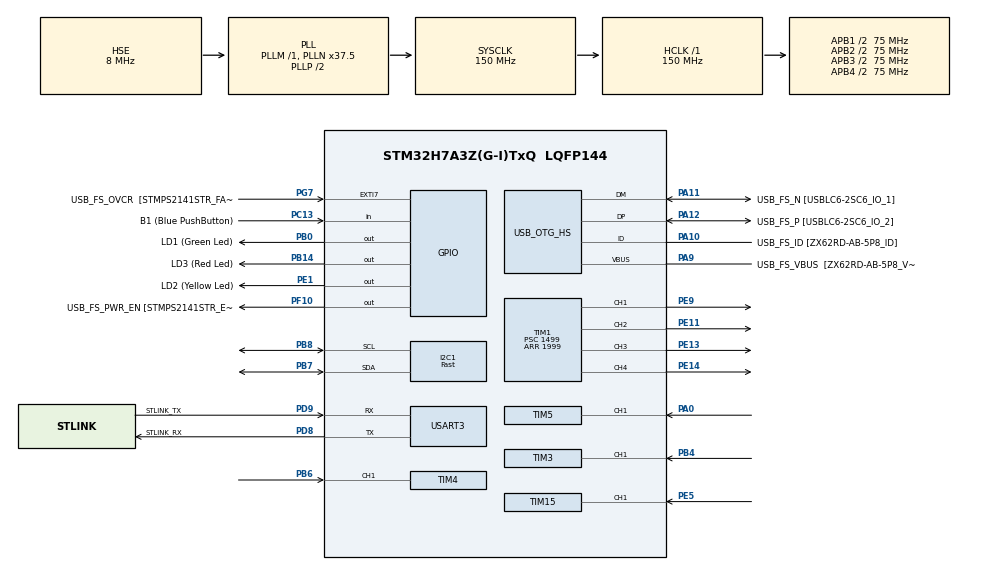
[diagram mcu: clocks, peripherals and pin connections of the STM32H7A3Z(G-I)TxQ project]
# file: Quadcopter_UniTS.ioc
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I2C1.I2C_Speed_Mode=I2C_Fast
I2C1.Timing=0x00702787
IWDG1.Prescaler=IWDG_PRESCALER_32
IWDG1.Reload=999
Mcu.Family=STM32H7
Mcu.Name=STM32H7A3Z(G-I)TxQ
Mcu.Package=LQFP144
NVIC.PriorityGroup=NVIC_PRIORITYGROUP_4
NVIC.TIM15_IRQn=true\:1\:0\:true\:false\:true\:true\:true\:true
NVIC.TIM2_IRQn=true\:0\:0\:true\:false\:true\:true\:true\:true
NVIC.TIM3_IRQn=true\:1\:0\:true\:false\:true\:true\:true\:true
NVIC.TIM4_IRQn=true\:1\:0\:true\:false\:true\:true\:true\:true
NVIC.TIM5_IRQn=true\:1\:0\:true\:false\:true\:true\:true\:true
PA0.Signal=S_TIM5_CH1
PA10.GPIO_Label=USB_FS_ID [ZX62RD-AB-5P8_ID]
PA10.Mode=OTG/Dual-Role-Device-FS
PA10.Signal=USB_OTG_HS_ID
PA11.GPIO_Label=USB_FS_N [USBLC6-2SC6_IO_1]
PA11.Mode=OTG/Dual-Role-Device-FS
PA11.Signal=USB_OTG_HS_DM
PA12.GPIO_Label=USB_FS_P [USBLC6-2SC6_IO_2]
PA12.Mode=OTG/Dual-Role-Device-FS
PA12.Signal=USB_OTG_HS_DP
PA9.GPIO_Label=USB_FS_VBUS  [ZX62RD-AB-5P8_VBUS]
PA9.Mode=Activate_VBUS_FS
PA9.Signal=USB_OTG_HS_VBUS
PB0.GPIO_Label=LD1 (Green Led)
PB0.Signal=GPIO_Output
PB14.GPIO_Label=LD3 (Red Led)
PB14.Signal=GPIO_Output
PB4.Signal=S_TIM3_CH1
PB6.Signal=S_TIM4_CH1
PB7.Mode=I2C
PB7.Signal=I2C1_SDA
PB8.Mode=I2C
PB8.Signal=I2C1_SCL
PC13.GPIO_Label=B1 (Blue PushButton)
PC13.Signal=GPIO_Input
PC14-OSC32_IN.GPIO_Label=OSC32_IN
PC14-OSC32_IN.Mode=LSE-External-Oscillator
PC14-OSC32_IN.Signal=RCC_OSC32_IN
PC15-OSC32_OUT.GPIO_Label=OSC32_OUT
PC15-OSC32_OUT.Mode=LSE-External-Oscillator
PC15-OSC32_OUT.Signal=RCC_OSC32_OUT
PD8.GPIO_Label=STLINK_RX
PD8.Mode=Asynchronous
PD8.Signal=USART3_TX
PD9.GPIO_Label=STLINK_TX
PD9.Mode=Asynchronous
PD9.Signal=USART3_RX
PE1.GPIO_Label=LD2 (Yellow Led)
PE1.Signal=GPIO_Output
PE11.Signal=S_TIM1_CH2
PE13.Signal=S_TIM1_CH3
PE14.Signal=S_TIM1_CH4
PE5.Signal=S_TIM15_CH1
PE9.Signal=S_TIM1_CH1
PF10.GPIO_Label=USB_FS_PWR_EN [STMPS2141STR_EN]
PF10.Signal=GPIO_Output
PG7.GPIO_Label=USB_FS_OVCR  [STMPS2141STR_FAULT]
PG7.Signal=GPXTI7
PH0-OSC_IN.GPIO_Label=PH0-MCU
PH0-OSC_IN.Mode=HSE-External-Oscillator
PH0-OSC_IN.Signal=RCC_OSC_IN
PH1-OSC_OUT.GPIO_Label=PH1-MCU
PH1-OSC_OUT.Mode=HSE-External-Oscillator
PH1-OSC_OUT.Signal=RCC_OSC_OUT
ProjectManager.HeapSize=0x200
ProjectManager.StackSize=0x400
ProjectManager.TargetToolchain=STM32CubeIDE
RCC.ADCFreq_Value=16125000
RCC.APB1Freq_Value=75000000
RCC.APB2Freq_Value=75000000
RCC.APB3Freq_Value=75000000
RCC.APB4Freq_Value=75000000
RCC.CDPPRE=RCC_APB3_DIV2
RCC.CDPPRE1=RCC_APB1_DIV2
RCC.CDPPRE2=RCC_APB2_DIV2
RCC.CortexFreq_Value=150000000
RCC.DIVM1=1
RCC.DIVM3=1
RCC.DIVN1=37
RCC.DIVN3=24
RCC.DIVQ1=4
RCC.HCLKFreq_Value=150000000
RCC.HSE_VALUE=8000000
RCC.PLLFRACN=4096
RCC.PLLSourceVirtual=RCC_PLLSOURCE_HSE
RCC.PWR_Regulator_Voltage_Scale=PWR_REGULATOR_VOLTAGE_SCALE0
RCC.SRDPPRE=RCC_APB4_DIV2
RCC.SYSCLKFreq_VALUE=150000000
RCC.SYSCLKSource=RCC_SYSCLKSOURCE_PLLCLK
RCC.SupplySource=PWR_DIRECT_SMPS_SUPPLY
RCC.USBCLockSelection=RCC_USBCLKSOURCE_HSI48
RCC.USBFreq_Value=48000000
SH.S_TIM15_CH1.0=TIM15_CH1,PWM_Input_1
SH.S_TIM1_CH1.0=TIM1_CH1,PWM Generation1 CH1
SH.S_TIM1_CH2.0=TIM1_CH2,PWM Generation2 CH2
SH.S_TIM1_CH3.0=TIM1_CH3,PWM Generation3 CH3
SH.S_TIM1_CH4.0=TIM1_CH4,PWM Generation4 CH4
SH.S_TIM3_CH1.0=TIM3_CH1,PWM_Input_1
SH.S_TIM4_CH1.0=TIM4_CH1,PWM_Input_1
SH.S_TIM5_CH1.0=TIM5_CH1,PWM_Input_1
TIM1.Channel-PWM\ Generation1\ CH1=TIM_CHANNEL_1
TIM1.Channel-PWM\ Generation2\ CH2=TIM_CHANNEL_2
TIM1.Channel-PWM\ Generation3\ CH3=TIM_CHANNEL_3
TIM1.Channel-PWM\ Generation4\ CH4=TIM_CHANNEL_4
TIM1.Period=1999
TIM1.Prescaler=1499
TIM15.Prescaler=639
TIM2.Period=999
TIM2.Prescaler=1499
TIM3.Prescaler=639
TIM4.Prescaler=639
TIM5.Period=65535
TIM5.Prescaler=639
USART3.VirtualMode-Asynchronous=VM_ASYNC
VP_IWDG1_VS_IWDG.Mode=IWDG_Activate
VP_TIM15_VS_ClockSourceINT.Mode=Internal
VP_TIM1_VS_ClockSourceINT.Mode=Internal
VP_TIM2_VS_ClockSourceINT.Mode=Internal
VP_TIM3_VS_ClockSourceINT.Mode=Internal
VP_TIM4_VS_ClockSourceINT.Mode=Internal
VP_TIM5_VS_ClockSourceINT.Mode=Internal
board=NUCLEO-H7A3ZI-Q

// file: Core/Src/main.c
/* USER CODE BEGIN Header */
/**
 ******************************************************************************
 * @file           : main.c
 * @brief          : Main program body
 ******************************************************************************
 * @attention
 *
 * Copyright (c) 2025 STMicroelectronics.
 * All rights reserved.
 *
 * This software is licensed under terms that can be found in the LICENSE file
 * in the root directory of this software component.
 * If no LICENSE file comes with this software, it is provided AS-IS.
 *
 ******************************************************************************
 */
/* USER CODE END Header */
#include "main.h"

/* USER CODE BEGIN Includes */

#include "motor.h"
#include "radio.h"
#include "control.h"
#include "orientation.h"
#include "filter.h"
#include "imu.h"
#include <stdint.h>
#include <stdlib.h>
#include <string.h>

/* USER CODE END Includes */

/* USER CODE BEGIN PD */
#define STABLE_INIT_CYCLES 3000
#define MAX_SAFE_ANGLE 10000000
/* USER CODE END PD */

I2C_HandleTypeDef hi2c1;

IWDG_HandleTypeDef hiwdg1;

TIM_HandleTypeDef htim1;
TIM_HandleTypeDef htim2;
TIM_HandleTypeDef htim3;
TIM_HandleTypeDef htim4;
TIM_HandleTypeDef htim5;
TIM_HandleTypeDef htim15;

UART_HandleTypeDef huart3;

void SystemClock_Config(void);
static void MX_GPIO_Init(void);
static void MX_USART3_UART_Init(void);
static void MX_USB_OTG_HS_USB_Init(void);
static void MX_TIM1_Init(void);
static void MX_TIM3_Init(void);
static void MX_TIM4_Init(void);
static void MX_TIM5_Init(void);
static void MX_TIM15_Init(void);
static void MX_I2C1_Init(void);
static void MX_TIM2_Init(void);
static void MX_IWDG1_Init(void);
/* USER CODE BEGIN PFP */

Radio rc_comm_temp;
uint16_t motor_pwm[4] = {0.0, 0.0, 0.0, 0.0};

volatile uint32_t period_rc_0 = 0;
volatile uint32_t period_rc_1 = 0;
volatile uint32_t period_rc_2 = 0;
volatile uint32_t period_rc_3 = 0;

volatile uint32_t pulse_on_rc_0 = 0;
volatile uint32_t pulse_on_rc_1 = 0;
volatile uint32_t pulse_on_rc_2 = 0;
volatile uint32_t pulse_on_rc_3 = 0;

volatile float norm_comm_rc_0 = 0;
volatile float norm_comm_rc_1 = 0;
volatile float norm_comm_rc_2 = 0;
volatile float norm_comm_rc_3 = 0;

uint16_t offset_rc_0 = 0;
uint16_t offset_rc_1 = 0;
uint16_t offset_rc_2 = 0;
uint16_t offset_rc_3 = 0;

float dt_imu = 0.001;
float dt_pid = 0.001;

volatile uint16_t motor_atom_flag;
volatile uint16_t motor_arming_flag = 0;
volatile uint16_t imu_flag = 0;
volatile uint16_t pid_flag = 0;

PID_Error control_error;
PID_Error former_error;

volatile Euler rc_ref_euler, imu_est_euler;

volatile PID_Out out_pid;

volatile uint16_t motor_throttle = MOTOR_MIN_PWM;
volatile uint16_t t = 0;

volatile uint32_t cycle_count = 0;

/* USER CODE END PFP */

/* USER CODE BEGIN 0 */
int _write(int32_t file, uint8_t *ptr, int32_t len)
{
	for (int i = 0; i < len; i++)
	{
		ITM_SendChar(*ptr++);
	}
	return len;
}

/* USER CODE END 0 */

int main(void)
{

	/* USER CODE BEGIN 1 */

 	rc_ref_euler.pitch =  0;
	rc_ref_euler.roll =  0;
	rc_ref_euler.yaw =  0;

	imu_est_euler.pitch =  0;
	imu_est_euler.roll =  0;
	imu_est_euler.yaw =  0;

	rc_comm_temp.AIL = 0;
	rc_comm_temp.ELE = 0;
	rc_comm_temp.RUD = 0;
	rc_comm_temp.THR = 0;

	/* USER CODE END 1 */

	/* MCU Configuration--------------------------------------------------------*/

	/* Reset of all peripherals, Initializes the Flash interface and the Systick. */
	HAL_Init();

	/* Configure the system clock */
	SystemClock_Config();

	/* Initialize all configured peripherals */
	MX_GPIO_Init();
	MX_USART3_UART_Init();
	MX_USB_OTG_HS_USB_Init();
	MX_TIM1_Init();
	MX_TIM3_Init();
	MX_TIM4_Init();
	MX_TIM5_Init();
	MX_TIM15_Init();
	MX_I2C1_Init();
	MX_TIM2_Init();
	MX_IWDG1_Init();
	/* USER CODE BEGIN 2 */
	/*starting timer 1 at 50 hz for motor pwm generation, one channel for each motor*/
	HAL_TIM_PWM_Start(&htim1, TIM_CHANNEL_1);
	HAL_TIM_PWM_Start(&htim1, TIM_CHANNEL_2);
	HAL_TIM_PWM_Start(&htim1, TIM_CHANNEL_3);
	HAL_TIM_PWM_Start(&htim1, TIM_CHANNEL_4);

	/*rc command reading, one timer for each type of command and 2 channels for each type
    only one generates an interrupt (ch_1) and is used to measure period
    and the other one is used to measure duty cycle ch_2
	 */

	HAL_TIM_IC_Start(&htim2, TIM_CHANNEL_2);

	HAL_TIM_IC_Start(&htim3, TIM_CHANNEL_2);
	HAL_TIM_IC_Start_IT(&htim3, TIM_CHANNEL_1);

	HAL_TIM_IC_Start(&htim4, TIM_CHANNEL_2);
	HAL_TIM_IC_Start_IT(&htim4, TIM_CHANNEL_1);

	HAL_TIM_IC_Start(&htim5, TIM_CHANNEL_2);
	HAL_TIM_IC_Start_IT(&htim5, TIM_CHANNEL_1);

	HAL_TIM_IC_Start(&htim15, TIM_CHANNEL_2);
	HAL_TIM_IC_Start_IT(&htim15, TIM_CHANNEL_1);

	/* USER CODE END 2 */

	/* Infinite loop */
	/* USER CODE BEGIN WHILE */

	init_motors();
	imu_init();
	orientation_init(); /*saves with hal_get_tick the time instant*/
	calibrate_rc();
	init_pid();

	MX_IWDG1_Init(); // start watchdog
	HAL_TIM_Base_Start_IT(&htim2); // Start motor PWM timer

	uint16_t stable_init_counter = 0;
	set_motor_pwm_zero(motor_pwm);

	while (1)
	{
		/* USER CODE END WHILE */

		/* USER CODE BEGIN 3 */

		get_target_euler(&rc_ref_euler, &rc_comm_temp);  /* Convert rc commands to reference euler angles*/

		if (imu_flag){
			orientation_update(&imu_est_euler); /* Get actual euler angle from IMU*/
			imu_flag=0;
		}

		if (pid_flag){
			motor_throttle = MAX_THROTTLE_RC * (float)rc_comm_temp.THR / RC_FULLSCALE * MOTOR_MAX_PWM + MOTOR_MIN_PWM * (1 - (float)rc_comm_temp.THR / RC_FULLSCALE);  // Scaled throttle

			pid_update(&out_pid, imu_est_euler, rc_ref_euler, motor_throttle);
			pid_flag = 0;

			// Atomic motor PWM update -------------------------

			// Safe angle check
			if ((abs(imu_est_euler.roll) < MAX_SAFE_ANGLE && abs(imu_est_euler.pitch) < MAX_SAFE_ANGLE) && (motor_throttle > MOTOR_MIN_PWM)) {
				mixing_formula(motor_pwm, motor_throttle, out_pid);
			}else {
				set_motor_pwm_zero(motor_pwm);
			}

		}

		// --------------------------------------------------

		// Initial free loops to stabilise system at rest
		if (stable_init_counter == STABLE_INIT_CYCLES) {
			motor_arming_flag = 1;
		} else {
			stable_init_counter++;
		}

	}
	/* USER CODE END 3 */
}

void SystemClock_Config(void)
{
	RCC_OscInitTypeDef RCC_OscInitStruct = {0};
	RCC_ClkInitTypeDef RCC_ClkInitStruct = {0};

	/*AXI clock gating */
	RCC->CKGAENR = 0xFFFFFFFF;

	/** Supply configuration update enable
	 */
	HAL_PWREx_ConfigSupply(PWR_DIRECT_SMPS_SUPPLY);

	/** Configure the main internal regulator output voltage
	 */
	__HAL_PWR_VOLTAGESCALING_CONFIG(PWR_REGULATOR_VOLTAGE_SCALE0);

	while(!__HAL_PWR_GET_FLAG(PWR_FLAG_VOSRDY)) {}

	/** Initializes the RCC Oscillators according to the specified parameters
	 * in the RCC_OscInitTypeDef structure.
	 */
	RCC_OscInitStruct.OscillatorType = RCC_OSCILLATORTYPE_HSI48|RCC_OSCILLATORTYPE_LSI
			|RCC_OSCILLATORTYPE_HSE;
	RCC_OscInitStruct.HSEState = RCC_HSE_ON;
	RCC_OscInitStruct.LSIState = RCC_LSI_ON;
	RCC_OscInitStruct.HSI48State = RCC_HSI48_ON;
	RCC_OscInitStruct.PLL.PLLState = RCC_PLL_ON;
	RCC_OscInitStruct.PLL.PLLSource = RCC_PLLSOURCE_HSE;
	RCC_OscInitStruct.PLL.PLLM = 1;
	RCC_OscInitStruct.PLL.PLLN = 37;
	RCC_OscInitStruct.PLL.PLLP = 2;
	RCC_OscInitStruct.PLL.PLLQ = 4;
	RCC_OscInitStruct.PLL.PLLR = 2;
	RCC_OscInitStruct.PLL.PLLRGE = RCC_PLL1VCIRANGE_3;
	RCC_OscInitStruct.PLL.PLLVCOSEL = RCC_PLL1VCOWIDE;
	RCC_OscInitStruct.PLL.PLLFRACN = 4096;
	if (HAL_RCC_OscConfig(&RCC_OscInitStruct) != HAL_OK)
	{
		Error_Handler();
	}

	/** Initializes the CPU, AHB and APB buses clocks
	 */
	RCC_ClkInitStruct.ClockType = RCC_CLOCKTYPE_HCLK|RCC_CLOCKTYPE_SYSCLK
			|RCC_CLOCKTYPE_PCLK1|RCC_CLOCKTYPE_PCLK2
			|RCC_CLOCKTYPE_D3PCLK1|RCC_CLOCKTYPE_D1PCLK1;
	RCC_ClkInitStruct.SYSCLKSource = RCC_SYSCLKSOURCE_PLLCLK;
	RCC_ClkInitStruct.SYSCLKDivider = RCC_SYSCLK_DIV1;
	RCC_ClkInitStruct.AHBCLKDivider = RCC_HCLK_DIV1;
	RCC_ClkInitStruct.APB3CLKDivider = RCC_APB3_DIV2;
	RCC_ClkInitStruct.APB1CLKDivider = RCC_APB1_DIV2;
	RCC_ClkInitStruct.APB2CLKDivider = RCC_APB2_DIV2;
	RCC_ClkInitStruct.APB4CLKDivider = RCC_APB4_DIV2;

	if (HAL_RCC_ClockConfig(&RCC_ClkInitStruct, FLASH_LATENCY_3) != HAL_OK)
	{
		Error_Handler();
	}
}

static void MX_I2C1_Init(void)
{

	hi2c1.Instance = I2C1;
	hi2c1.Init.Timing = 0x00702787;
	hi2c1.Init.OwnAddress1 = 0;
	hi2c1.Init.AddressingMode = I2C_ADDRESSINGMODE_7BIT;
	hi2c1.Init.DualAddressMode = I2C_DUALADDRESS_DISABLE;
	hi2c1.Init.OwnAddress2 = 0;
	hi2c1.Init.OwnAddress2Masks = I2C_OA2_NOMASK;
	hi2c1.Init.GeneralCallMode = I2C_GENERALCALL_DISABLE;
	hi2c1.Init.NoStretchMode = I2C_NOSTRETCH_DISABLE;
	if (HAL_I2C_Init(&hi2c1) != HAL_OK)
	{
		Error_Handler();
	}

	/** Configure Analogue filter
	 */
	if (HAL_I2CEx_ConfigAnalogFilter(&hi2c1, I2C_ANALOGFILTER_ENABLE) != HAL_OK)
	{
		Error_Handler();
	}

	/** Configure Digital filter
	 */
	if (HAL_I2CEx_ConfigDigitalFilter(&hi2c1, 0) != HAL_OK)
	{
		Error_Handler();
	}

}

static void MX_IWDG1_Init(void)
{

	hiwdg1.Instance = IWDG1;
	hiwdg1.Init.Prescaler = IWDG_PRESCALER_32;
	hiwdg1.Init.Window = 4095;
	hiwdg1.Init.Reload = 999;
	if (HAL_IWDG_Init(&hiwdg1) != HAL_OK)
	{
		Error_Handler();
	}

}

static void MX_TIM1_Init(void)
{

	TIM_ClockConfigTypeDef sClockSourceConfig = {0};
	TIM_MasterConfigTypeDef sMasterConfig = {0};
	TIM_OC_InitTypeDef sConfigOC = {0};
	TIM_BreakDeadTimeConfigTypeDef sBreakDeadTimeConfig = {0};

	htim1.Instance = TIM1;
	htim1.Init.Prescaler = 1499;
	htim1.Init.CounterMode = TIM_COUNTERMODE_UP;
	htim1.Init.Period = 1999;
	htim1.Init.ClockDivision = TIM_CLOCKDIVISION_DIV1;
	htim1.Init.RepetitionCounter = 0;
	htim1.Init.AutoReloadPreload = TIM_AUTORELOAD_PRELOAD_DISABLE;
	if (HAL_TIM_Base_Init(&htim1) != HAL_OK)
	{
		Error_Handler();
	}
	sClockSourceConfig.ClockSource = TIM_CLOCKSOURCE_INTERNAL;
	if (HAL_TIM_ConfigClockSource(&htim1, &sClockSourceConfig) != HAL_OK)
	{
		Error_Handler();
	}
	if (HAL_TIM_PWM_Init(&htim1) != HAL_OK)
	{
		Error_Handler();
	}
	sMasterConfig.MasterOutputTrigger = TIM_TRGO_RESET;
	sMasterConfig.MasterOutputTrigger2 = TIM_TRGO2_RESET;
	sMasterConfig.MasterSlaveMode = TIM_MASTERSLAVEMODE_DISABLE;
	if (HAL_TIMEx_MasterConfigSynchronization(&htim1, &sMasterConfig) != HAL_OK)
	{
		Error_Handler();
	}
	sConfigOC.OCMode = TIM_OCMODE_PWM1;
	sConfigOC.Pulse = 0;
	sConfigOC.OCPolarity = TIM_OCPOLARITY_HIGH;
	sConfigOC.OCNPolarity = TIM_OCNPOLARITY_HIGH;
	sConfigOC.OCFastMode = TIM_OCFAST_DISABLE;
	sConfigOC.OCIdleState = TIM_OCIDLESTATE_RESET;
	sConfigOC.OCNIdleState = TIM_OCNIDLESTATE_RESET;
	if (HAL_TIM_PWM_ConfigChannel(&htim1, &sConfigOC, TIM_CHANNEL_1) != HAL_OK)
	{
		Error_Handler();
	}
	if (HAL_TIM_PWM_ConfigChannel(&htim1, &sConfigOC, TIM_CHANNEL_2) != HAL_OK)
	{
		Error_Handler();
	}
	if (HAL_TIM_PWM_ConfigChannel(&htim1, &sConfigOC, TIM_CHANNEL_3) != HAL_OK)
	{
		Error_Handler();
	}
	if (HAL_TIM_PWM_ConfigChannel(&htim1, &sConfigOC, TIM_CHANNEL_4) != HAL_OK)
	{
		Error_Handler();
	}
	sBreakDeadTimeConfig.OffStateRunMode = TIM_OSSR_DISABLE;
	sBreakDeadTimeConfig.OffStateIDLEMode = TIM_OSSI_DISABLE;
	sBreakDeadTimeConfig.LockLevel = TIM_LOCKLEVEL_OFF;
	sBreakDeadTimeConfig.DeadTime = 0;
	sBreakDeadTimeConfig.BreakState = TIM_BREAK_DISABLE;
	sBreakDeadTimeConfig.BreakPolarity = TIM_BREAKPOLARITY_HIGH;
	sBreakDeadTimeConfig.BreakFilter = 0;
	sBreakDeadTimeConfig.Break2State = TIM_BREAK2_DISABLE;
	sBreakDeadTimeConfig.Break2Polarity = TIM_BREAK2POLARITY_HIGH;
	sBreakDeadTimeConfig.Break2Filter = 0;
	sBreakDeadTimeConfig.AutomaticOutput = TIM_AUTOMATICOUTPUT_DISABLE;
	if (HAL_TIMEx_ConfigBreakDeadTime(&htim1, &sBreakDeadTimeConfig) != HAL_OK)
	{
		Error_Handler();
	}
	HAL_TIM_MspPostInit(&htim1);

}

static void MX_TIM2_Init(void)
{

	TIM_ClockConfigTypeDef sClockSourceConfig = {0};
	TIM_MasterConfigTypeDef sMasterConfig = {0};

	htim2.Instance = TIM2;
	htim2.Init.Prescaler = 1499;
	htim2.Init.CounterMode = TIM_COUNTERMODE_UP;
	htim2.Init.Period = 999;
	htim2.Init.ClockDivision = TIM_CLOCKDIVISION_DIV1;
	htim2.Init.AutoReloadPreload = TIM_AUTORELOAD_PRELOAD_DISABLE;
	if (HAL_TIM_Base_Init(&htim2) != HAL_OK)
	{
		Error_Handler();
	}
	sClockSourceConfig.ClockSource = TIM_CLOCKSOURCE_INTERNAL;
	if (HAL_TIM_ConfigClockSource(&htim2, &sClockSourceConfig) != HAL_OK)
	{
		Error_Handler();
	}
	sMasterConfig.MasterOutputTrigger = TIM_TRGO_RESET;
	sMasterConfig.MasterSlaveMode = TIM_MASTERSLAVEMODE_DISABLE;
	if (HAL_TIMEx_MasterConfigSynchronization(&htim2, &sMasterConfig) != HAL_OK)
	{
		Error_Handler();
	}

}

static void MX_TIM3_Init(void)
{

	TIM_ClockConfigTypeDef sClockSourceConfig = {0};
	TIM_SlaveConfigTypeDef sSlaveConfig = {0};
	TIM_IC_InitTypeDef sConfigIC = {0};
	TIM_MasterConfigTypeDef sMasterConfig = {0};

	htim3.Instance = TIM3;
	htim3.Init.Prescaler = 639;
	htim3.Init.CounterMode = TIM_COUNTERMODE_UP;
	htim3.Init.Period = 65535;
	htim3.Init.ClockDivision = TIM_CLOCKDIVISION_DIV1;
	htim3.Init.AutoReloadPreload = TIM_AUTORELOAD_PRELOAD_DISABLE;
	if (HAL_TIM_Base_Init(&htim3) != HAL_OK)
	{
		Error_Handler();
	}
	sClockSourceConfig.ClockSource = TIM_CLOCKSOURCE_INTERNAL;
	if (HAL_TIM_ConfigClockSource(&htim3, &sClockSourceConfig) != HAL_OK)
	{
		Error_Handler();
	}
	if (HAL_TIM_IC_Init(&htim3) != HAL_OK)
	{
		Error_Handler();
	}
	sSlaveConfig.SlaveMode = TIM_SLAVEMODE_RESET;
	sSlaveConfig.InputTrigger = TIM_TS_TI1FP1;
	sSlaveConfig.TriggerPolarity = TIM_INPUTCHANNELPOLARITY_RISING;
	sSlaveConfig.TriggerPrescaler = TIM_ICPSC_DIV1;
	sSlaveConfig.TriggerFilter = 0;
	if (HAL_TIM_SlaveConfigSynchro(&htim3, &sSlaveConfig) != HAL_OK)
	{
		Error_Handler();
	}
	sConfigIC.ICPolarity = TIM_INPUTCHANNELPOLARITY_RISING;
	sConfigIC.ICSelection = TIM_ICSELECTION_DIRECTTI;
	sConfigIC.ICPrescaler = TIM_ICPSC_DIV1;
	sConfigIC.ICFilter = 0;
	if (HAL_TIM_IC_ConfigChannel(&htim3, &sConfigIC, TIM_CHANNEL_1) != HAL_OK)
	{
		Error_Handler();
	}
	sConfigIC.ICPolarity = TIM_INPUTCHANNELPOLARITY_FALLING;
	sConfigIC.ICSelection = TIM_ICSELECTION_INDIRECTTI;
	if (HAL_TIM_IC_ConfigChannel(&htim3, &sConfigIC, TIM_CHANNEL_2) != HAL_OK)
	{
		Error_Handler();
	}
	sMasterConfig.MasterOutputTrigger = TIM_TRGO_RESET;
	sMasterConfig.MasterSlaveMode = TIM_MASTERSLAVEMODE_DISABLE;
	if (HAL_TIMEx_MasterConfigSynchronization(&htim3, &sMasterConfig) != HAL_OK)
	{
		Error_Handler();
	}

}

static void MX_TIM4_Init(void)
{

	TIM_ClockConfigTypeDef sClockSourceConfig = {0};
	TIM_SlaveConfigTypeDef sSlaveConfig = {0};
	TIM_IC_InitTypeDef sConfigIC = {0};
	TIM_MasterConfigTypeDef sMasterConfig = {0};

	htim4.Instance = TIM4;
	htim4.Init.Prescaler = 639;
	htim4.Init.CounterMode = TIM_COUNTERMODE_UP;
	htim4.Init.Period = 65535;
	htim4.Init.ClockDivision = TIM_CLOCKDIVISION_DIV1;
	htim4.Init.AutoReloadPreload = TIM_AUTORELOAD_PRELOAD_DISABLE;
	if (HAL_TIM_Base_Init(&htim4) != HAL_OK)
	{
		Error_Handler();
	}
	sClockSourceConfig.ClockSource = TIM_CLOCKSOURCE_INTERNAL;
	if (HAL_TIM_ConfigClockSource(&htim4, &sClockSourceConfig) != HAL_OK)
	{
		Error_Handler();
	}
	if (HAL_TIM_IC_Init(&htim4) != HAL_OK)
	{
		Error_Handler();
	}
	sSlaveConfig.SlaveMode = TIM_SLAVEMODE_RESET;
	sSlaveConfig.InputTrigger = TIM_TS_TI1FP1;
	sSlaveConfig.TriggerPolarity = TIM_INPUTCHANNELPOLARITY_RISING;
	sSlaveConfig.TriggerPrescaler = TIM_ICPSC_DIV1;
	sSlaveConfig.TriggerFilter = 0;
	if (HAL_TIM_SlaveConfigSynchro(&htim4, &sSlaveConfig) != HAL_OK)
	{
		Error_Handler();
	}
	sConfigIC.ICPolarity = TIM_INPUTCHANNELPOLARITY_RISING;
	sConfigIC.ICSelection = TIM_ICSELECTION_DIRECTTI;
	sConfigIC.ICPrescaler = TIM_ICPSC_DIV1;
	sConfigIC.ICFilter = 0;
	if (HAL_TIM_IC_ConfigChannel(&htim4, &sConfigIC, TIM_CHANNEL_1) != HAL_OK)
	{
		Error_Handler();
	}
	sConfigIC.ICPolarity = TIM_INPUTCHANNELPOLARITY_FALLING;
	sConfigIC.ICSelection = TIM_ICSELECTION_INDIRECTTI;
	if (HAL_TIM_IC_ConfigChannel(&htim4, &sConfigIC, TIM_CHANNEL_2) != HAL_OK)
	{
		Error_Handler();
	}
	sMasterConfig.MasterOutputTrigger = TIM_TRGO_RESET;
	sMasterConfig.MasterSlaveMode = TIM_MASTERSLAVEMODE_DISABLE;
	if (HAL_TIMEx_MasterConfigSynchronization(&htim4, &sMasterConfig) != HAL_OK)
	{
		Error_Handler();
	}

}

static void MX_TIM5_Init(void)
{

	TIM_ClockConfigTypeDef sClockSourceConfig = {0};
	TIM_SlaveConfigTypeDef sSlaveConfig = {0};
	TIM_IC_InitTypeDef sConfigIC = {0};
	TIM_MasterConfigTypeDef sMasterConfig = {0};

	htim5.Instance = TIM5;
	htim5.Init.Prescaler = 639;
	htim5.Init.CounterMode = TIM_COUNTERMODE_UP;
	htim5.Init.Period = 65535;
	htim5.Init.ClockDivision = TIM_CLOCKDIVISION_DIV1;
	htim5.Init.AutoReloadPreload = TIM_AUTORELOAD_PRELOAD_DISABLE;
	if (HAL_TIM_Base_Init(&htim5) != HAL_OK)
	{
		Error_Handler();
	}
	sClockSourceConfig.ClockSource = TIM_CLOCKSOURCE_INTERNAL;
	if (HAL_TIM_ConfigClockSource(&htim5, &sClockSourceConfig) != HAL_OK)
	{
		Error_Handler();
	}
	if (HAL_TIM_IC_Init(&htim5) != HAL_OK)
	{
		Error_Handler();
	}
	sSlaveConfig.SlaveMode = TIM_SLAVEMODE_RESET;
	sSlaveConfig.InputTrigger = TIM_TS_TI1FP1;
	sSlaveConfig.TriggerPolarity = TIM_INPUTCHANNELPOLARITY_RISING;
	sSlaveConfig.TriggerPrescaler = TIM_ICPSC_DIV1;
	sSlaveConfig.TriggerFilter = 0;
	if (HAL_TIM_SlaveConfigSynchro(&htim5, &sSlaveConfig) != HAL_OK)
	{
		Error_Handler();
	}
	sConfigIC.ICPolarity = TIM_INPUTCHANNELPOLARITY_RISING;
	sConfigIC.ICSelection = TIM_ICSELECTION_DIRECTTI;
	sConfigIC.ICPrescaler = TIM_ICPSC_DIV1;
	sConfigIC.ICFilter = 0;
	if (HAL_TIM_IC_ConfigChannel(&htim5, &sConfigIC, TIM_CHANNEL_1) != HAL_OK)
	{
		Error_Handler();
	}
	sConfigIC.ICPolarity = TIM_INPUTCHANNELPOLARITY_FALLING;
	sConfigIC.ICSelection = TIM_ICSELECTION_INDIRECTTI;
	if (HAL_TIM_IC_ConfigChannel(&htim5, &sConfigIC, TIM_CHANNEL_2) != HAL_OK)
	{
		Error_Handler();
	}
	sMasterConfig.MasterOutputTrigger = TIM_TRGO_RESET;
	sMasterConfig.MasterSlaveMode = TIM_MASTERSLAVEMODE_DISABLE;
	if (HAL_TIMEx_MasterConfigSynchronization(&htim5, &sMasterConfig) != HAL_OK)
	{
		Error_Handler();
	}

}

static void MX_TIM15_Init(void)
{

	TIM_ClockConfigTypeDef sClockSourceConfig = {0};
	TIM_SlaveConfigTypeDef sSlaveConfig = {0};
	TIM_IC_InitTypeDef sConfigIC = {0};
	TIM_MasterConfigTypeDef sMasterConfig = {0};

	htim15.Instance = TIM15;
	htim15.Init.Prescaler = 639;
	htim15.Init.CounterMode = TIM_COUNTERMODE_UP;
	htim15.Init.Period = 65535;
	htim15.Init.ClockDivision = TIM_CLOCKDIVISION_DIV1;
	htim15.Init.RepetitionCounter = 0;
	htim15.Init.AutoReloadPreload = TIM_AUTORELOAD_PRELOAD_DISABLE;
	if (HAL_TIM_Base_Init(&htim15) != HAL_OK)
	{
		Error_Handler();
	}
	sClockSourceConfig.ClockSource = TIM_CLOCKSOURCE_INTERNAL;
	if (HAL_TIM_ConfigClockSource(&htim15, &sClockSourceConfig) != HAL_OK)
	{
		Error_Handler();
	}
	if (HAL_TIM_IC_Init(&htim15) != HAL_OK)
	{
		Error_Handler();
	}
	sSlaveConfig.SlaveMode = TIM_SLAVEMODE_RESET;
	sSlaveConfig.InputTrigger = TIM_TS_TI1FP1;
	sSlaveConfig.TriggerPolarity = TIM_INPUTCHANNELPOLARITY_RISING;
	sSlaveConfig.TriggerPrescaler = TIM_ICPSC_DIV1;
	sSlaveConfig.TriggerFilter = 0;
	if (HAL_TIM_SlaveConfigSynchro(&htim15, &sSlaveConfig) != HAL_OK)
	{
		Error_Handler();
	}
	sConfigIC.ICPolarity = TIM_INPUTCHANNELPOLARITY_RISING;
	sConfigIC.ICSelection = TIM_ICSELECTION_DIRECTTI;
	sConfigIC.ICPrescaler = TIM_ICPSC_DIV1;
	sConfigIC.ICFilter = 0;
	if (HAL_TIM_IC_ConfigChannel(&htim15, &sConfigIC, TIM_CHANNEL_1) != HAL_OK)
	{
		Error_Handler();
	}
	sConfigIC.ICPolarity = TIM_INPUTCHANNELPOLARITY_FALLING;
	sConfigIC.ICSelection = TIM_ICSELECTION_INDIRECTTI;
	if (HAL_TIM_IC_ConfigChannel(&htim15, &sConfigIC, TIM_CHANNEL_2) != HAL_OK)
	{
		Error_Handler();
	}
	sMasterConfig.MasterOutputTrigger = TIM_TRGO_RESET;
	sMasterConfig.MasterSlaveMode = TIM_MASTERSLAVEMODE_DISABLE;
	if (HAL_TIMEx_MasterConfigSynchronization(&htim15, &sMasterConfig) != HAL_OK)
	{
		Error_Handler();
	}

}

static void MX_USART3_UART_Init(void)
{

	huart3.Instance = USART3;
	huart3.Init.BaudRate = 115200;
	huart3.Init.WordLength = UART_WORDLENGTH_8B;
	huart3.Init.StopBits = UART_STOPBITS_1;
	huart3.Init.Parity = UART_PARITY_NONE;
	huart3.Init.Mode = UART_MODE_TX_RX;
	huart3.Init.HwFlowCtl = UART_HWCONTROL_NONE;
	huart3.Init.OverSampling = UART_OVERSAMPLING_16;
	huart3.Init.OneBitSampling = UART_ONE_BIT_SAMPLE_DISABLE;
	huart3.Init.ClockPrescaler = UART_PRESCALER_DIV1;
	huart3.AdvancedInit.AdvFeatureInit = UART_ADVFEATURE_NO_INIT;
	if (HAL_UART_Init(&huart3) != HAL_OK)
	{
		Error_Handler();
	}
	if (HAL_UARTEx_SetTxFifoThreshold(&huart3, UART_TXFIFO_THRESHOLD_1_8) != HAL_OK)
	{
		Error_Handler();
	}
	if (HAL_UARTEx_SetRxFifoThreshold(&huart3, UART_RXFIFO_THRESHOLD_1_8) != HAL_OK)
	{
		Error_Handler();
	}
	if (HAL_UARTEx_DisableFifoMode(&huart3) != HAL_OK)
	{
		Error_Handler();
	}

}

static void MX_USB_OTG_HS_USB_Init(void)
{

}

static void MX_GPIO_Init(void)
{
	GPIO_InitTypeDef GPIO_InitStruct = {0};

	/* GPIO Ports Clock Enable */
	__HAL_RCC_GPIOE_CLK_ENABLE();
	__HAL_RCC_GPIOC_CLK_ENABLE();
	__HAL_RCC_GPIOF_CLK_ENABLE();
	__HAL_RCC_GPIOH_CLK_ENABLE();
	__HAL_RCC_GPIOA_CLK_ENABLE();
	__HAL_RCC_GPIOB_CLK_ENABLE();
	__HAL_RCC_GPIOD_CLK_ENABLE();
	__HAL_RCC_GPIOG_CLK_ENABLE();

	/*Configure GPIO pin Output Level */
	HAL_GPIO_WritePin(USB_FS_PWR_EN_GPIO_Port, USB_FS_PWR_EN_Pin, GPIO_PIN_RESET);

	/*Configure GPIO pin Output Level */
	HAL_GPIO_WritePin(GPIOB, LD1_Pin|LD3_Pin, GPIO_PIN_RESET);

	/*Configure GPIO pin Output Level */
	HAL_GPIO_WritePin(LD2_GPIO_Port, LD2_Pin, GPIO_PIN_RESET);

	/*Configure GPIO pin : B1_Pin */
	GPIO_InitStruct.Pin = B1_Pin;
	GPIO_InitStruct.Mode = GPIO_MODE_INPUT;
	GPIO_InitStruct.Pull = GPIO_NOPULL;
	HAL_GPIO_Init(B1_GPIO_Port, &GPIO_InitStruct);

	/*Configure GPIO pin : USB_FS_PWR_EN_Pin */
	GPIO_InitStruct.Pin = USB_FS_PWR_EN_Pin;
	GPIO_InitStruct.Mode = GPIO_MODE_OUTPUT_PP;
	GPIO_InitStruct.Pull = GPIO_NOPULL;
	GPIO_InitStruct.Speed = GPIO_SPEED_FREQ_LOW;
	HAL_GPIO_Init(USB_FS_PWR_EN_GPIO_Port, &GPIO_InitStruct);

	/*Configure GPIO pins : LD1_Pin LD3_Pin */
	GPIO_InitStruct.Pin = LD1_Pin|LD3_Pin;
	GPIO_InitStruct.Mode = GPIO_MODE_OUTPUT_PP;
	GPIO_InitStruct.Pull = GPIO_NOPULL;
	GPIO_InitStruct.Speed = GPIO_SPEED_FREQ_LOW;
	HAL_GPIO_Init(GPIOB, &GPIO_InitStruct);

	/*Configure GPIO pin : USB_FS_OVCR_Pin */
	GPIO_InitStruct.Pin = USB_FS_OVCR_Pin;
	GPIO_InitStruct.Mode = GPIO_MODE_IT_RISING;
	GPIO_InitStruct.Pull = GPIO_NOPULL;
	HAL_GPIO_Init(USB_FS_OVCR_GPIO_Port, &GPIO_InitStruct);

	/*Configure GPIO pin : USB_FS_VBUS_Pin */
	GPIO_InitStruct.Pin = USB_FS_VBUS_Pin;
	GPIO_InitStruct.Mode = GPIO_MODE_INPUT;
	GPIO_InitStruct.Pull = GPIO_NOPULL;
	HAL_GPIO_Init(USB_FS_VBUS_GPIO_Port, &GPIO_InitStruct);

	/*Configure GPIO pin : USB_FS_ID_Pin */
	GPIO_InitStruct.Pin = USB_FS_ID_Pin;
	GPIO_InitStruct.Mode = GPIO_MODE_AF_PP;
	GPIO_InitStruct.Pull = GPIO_NOPULL;
	GPIO_InitStruct.Speed = GPIO_SPEED_FREQ_LOW;
	GPIO_InitStruct.Alternate = GPIO_AF10_OTG1_HS;
	HAL_GPIO_Init(USB_FS_ID_GPIO_Port, &GPIO_InitStruct);

	/*Configure GPIO pins : USB_FS_N_Pin USB_FS_P_Pin */
	GPIO_InitStruct.Pin = USB_FS_N_Pin|USB_FS_P_Pin;
	GPIO_InitStruct.Mode = GPIO_MODE_AF_PP;
	GPIO_InitStruct.Pull = GPIO_NOPULL;
	GPIO_InitStruct.Speed = GPIO_SPEED_FREQ_LOW;
	HAL_GPIO_Init(GPIOA, &GPIO_InitStruct);

	/*Configure GPIO pin : LD2_Pin */
	GPIO_InitStruct.Pin = LD2_Pin;
	GPIO_InitStruct.Mode = GPIO_MODE_OUTPUT_PP;
	GPIO_InitStruct.Pull = GPIO_NOPULL;
	GPIO_InitStruct.Speed = GPIO_SPEED_FREQ_LOW;
	HAL_GPIO_Init(LD2_GPIO_Port, &GPIO_InitStruct);

}

/* USER CODE BEGIN 4 */

void HAL_TIM_PeriodElapsedCallback(TIM_HandleTypeDef *htim) {

	if (htim->Instance == TIM2 ){

		if(cycle_count == 3 && motor_arming_flag){
			// Set motor with most updated data
			set_motor_pwm(motor_pwm);
		}

		imu_flag = 1;

		if (cycle_count == 1) {
			pid_flag = 1;
		}

		if(cycle_count == 3) {
			cycle_count = 0;
		} else {
			cycle_count++;
		}
	}
}

void HAL_TIM_IC_CaptureCallback(TIM_HandleTypeDef *htim)
{
	if (htim->Instance == TIM3)
	{

		period_rc_0 = HAL_TIM_ReadCapturedValue(htim, TIM_CHANNEL_1);
		pulse_on_rc_0 = HAL_TIM_ReadCapturedValue(htim, TIM_CHANNEL_2)*10;

		if (period_rc_0 > 4350 && period_rc_0 < 4370 && pulse_on_rc_0 > 0 && period_rc_0 > pulse_on_rc_0 ) {
			float duty_actual = (float)pulse_on_rc_0 / (float)period_rc_0;
			float duty_center = (float)offset_rc_0 / (float)period_rc_0;
			norm_comm_rc_0 = (duty_actual - duty_center) / (1.0f - duty_center); // Normalize command to [-1,1]
			rc_comm_temp.AIL = norm_comm_rc_0 * RC_FULLSCALE;

			HAL_IWDG_Refresh(&hiwdg1); // pet the watchdog
		}
	}

	if (htim->Instance == TIM4)
	{

		period_rc_1 = HAL_TIM_ReadCapturedValue(htim, TIM_CHANNEL_1);
		pulse_on_rc_1 = HAL_TIM_ReadCapturedValue(htim, TIM_CHANNEL_2)*10;

		if (period_rc_1 > 4350 && period_rc_1 < 4370 && pulse_on_rc_1 > 0 && period_rc_1 > pulse_on_rc_1) {
			float duty_actual = (float)pulse_on_rc_1 / (float)period_rc_1;
			float duty_center = (float)offset_rc_1 / (float)period_rc_1;
			norm_comm_rc_1 = (duty_actual - duty_center) / (1.0f - duty_center); // Normalize command to [-1,1]
			rc_comm_temp.ELE = norm_comm_rc_1 * RC_FULLSCALE;

			HAL_IWDG_Refresh(&hiwdg1); // pet the watchdog
		}
	}

	if (htim->Instance == TIM5)
	{

		period_rc_2 = HAL_TIM_ReadCapturedValue(htim, TIM_CHANNEL_1);
		pulse_on_rc_2 = HAL_TIM_ReadCapturedValue(htim, TIM_CHANNEL_2)*10;

		if (period_rc_2 > 4350 && period_rc_2 < 4370 && pulse_on_rc_2 > 0 && period_rc_2 > pulse_on_rc_2) {
			float duty_actual = (float)pulse_on_rc_2 / (float)period_rc_2;
			float duty_center = (float)offset_rc_2 / (float)period_rc_2;
			norm_comm_rc_2 = (duty_actual - duty_center) / (1.0f - duty_center); // Normalize command to [-1,1]
			rc_comm_temp.RUD = norm_comm_rc_2 * RC_FULLSCALE;

			HAL_IWDG_Refresh(&hiwdg1); // pet the watchdog
		}
	}
	if (htim->Instance == TIM15)
	{

		period_rc_3 = HAL_TIM_ReadCapturedValue(htim, TIM_CHANNEL_1);
		pulse_on_rc_3 = HAL_TIM_ReadCapturedValue(htim, TIM_CHANNEL_2)*10;

		if (period_rc_3 > 4350 && period_rc_3 < 4370 && pulse_on_rc_3 > 0 && period_rc_3 > pulse_on_rc_3) {
			float min_rc3 = (float) offset_rc_3 / (float) period_rc_3;
			norm_comm_rc_3 = ((float) pulse_on_rc_3 / (float) period_rc_3  - min_rc3) / (1 - min_rc3); // Normalize command to [0,1]
			rc_comm_temp.THR =  norm_comm_rc_3 * RC_FULLSCALE;

			HAL_IWDG_Refresh(&hiwdg1); // pet the watchdog
		}
	}

}
/* USER CODE END 4 */

void Error_Handler(void)
{
	__disable_irq();
	while (1)
	{
	}
}
